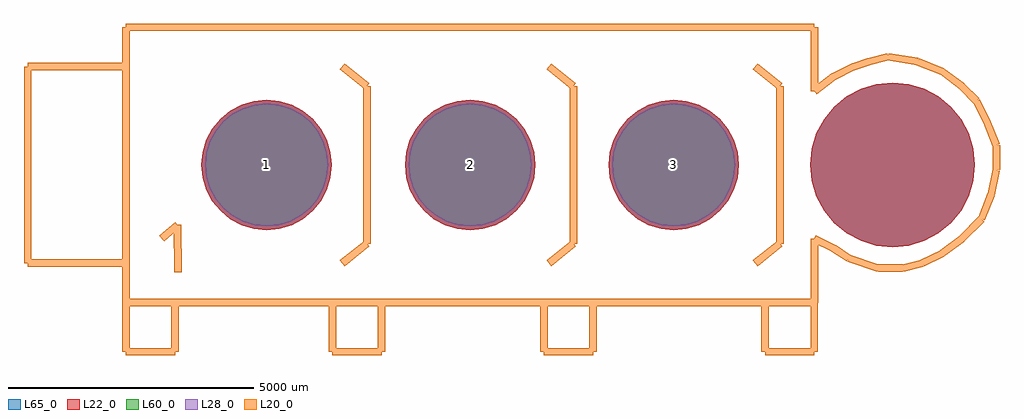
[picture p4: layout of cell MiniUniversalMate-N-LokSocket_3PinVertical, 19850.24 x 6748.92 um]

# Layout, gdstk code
import gdstk
lib = gdstk.Library(unit=1e-6, precision=1e-09)
def P(c, l, *ps):  # polygons
    for p in ps: c.add(gdstk.Polygon(p, *l))
L20_0 = (20, 0)
L22_0 = (22, 0)
L28_0 = (28, 0)
L60_0 = (60, 0)
L65_0 = (65, 0)

miniuniversalmate_n_loks = lib.new_cell('MiniUniversalMate-N-LokSocket_3PinVertical')
P(miniuniversalmate_n_loks, L22_0, [(5464.88,0),(5439.427,258.432),(5364.045,506.933),(5241.631,735.953),(5076.89,936.69),(4876.153,1101.431),(4647.133,1223.845),(4398.632,1299.227),(4140.2,1324.68),(3881.768,1299.227),(3633.267,1223.845),(3404.247,1101.431),(3203.51,936.69),(3038.769,735.953),(2916.355,506.933),(2840.973,258.432),(2815.52,0),(2840.973,-258.432),(2916.355,-506.933),(3038.769,-735.953),(3203.51,-936.69),(3404.247,-1101.431),(3633.267,-1223.845),(3881.768,-1299.227),(4140.2,-1324.68),(4398.632,-1299.227),(4647.133,-1223.845),(4876.153,-1101.431),(5076.89,-936.69),(5241.631,-735.953),(5364.045,-506.933),(5439.427,-258.432)],
  [(-2815.52,0),(-2840.973,258.432),(-2916.355,506.933),(-3038.769,735.953),(-3203.51,936.69),(-3404.247,1101.431),(-3633.267,1223.845),(-3881.768,1299.227),(-4140.2,1324.68),(-4398.632,1299.227),(-4647.133,1223.845),(-4876.153,1101.431),(-5076.89,936.69),(-5241.631,735.953),(-5364.045,506.933),(-5439.427,258.432),(-5464.88,0),(-5439.427,-258.432),(-5364.045,-506.933),(-5241.631,-735.953),(-5076.89,-936.69),(-4876.153,-1101.431),(-4647.133,-1223.845),(-4398.632,-1299.227),(-4140.2,-1324.68),(-3881.768,-1299.227),(-3633.267,-1223.845),(-3404.247,-1101.431),(-3203.51,-936.69),(-3038.769,-735.953),(-2916.355,-506.933),(-2840.973,-258.432)],
  [(10265.48,0),(10233.292,326.815),(10137.963,641.071),(9983.158,930.691),(9774.825,1184.545),(9520.971,1392.878),(9231.351,1547.683),(8917.095,1643.012),(8590.28,1675.2),(8263.465,1643.012),(7949.209,1547.683),(7659.589,1392.878),(7405.735,1184.545),(7197.402,930.691),(7042.597,641.071),(6947.268,326.815),(6915.08,0),(6947.268,-326.815),(7042.597,-641.071),(7197.402,-930.691),(7405.735,-1184.545),(7659.589,-1392.878),(7949.209,-1547.683),(8263.465,-1643.012),(8590.28,-1675.2),(8917.095,-1643.012),(9231.351,-1547.683),(9520.971,-1392.878),(9774.825,-1184.545),(9983.158,-930.691),(10137.963,-641.071),(10233.292,-326.815)],
  [(1324.68,0),(1299.227,258.432),(1223.845,506.933),(1101.431,735.953),(936.69,936.69),(735.953,1101.431),(506.933,1223.845),(258.432,1299.227),(0,1324.68),(-258.432,1299.227),(-506.933,1223.845),(-735.953,1101.431),(-936.69,936.69),(-1101.431,735.953),(-1223.845,506.933),(-1299.227,258.432),(-1324.68,0),(-1299.227,-258.432),(-1223.845,-506.933),(-1101.431,-735.953),(-936.69,-936.69),(-735.953,-1101.431),(-506.933,-1223.845),(-258.432,-1299.227),(0,-1324.68),(258.432,-1299.227),(506.933,-1223.845),(735.953,-1101.431),(936.69,-936.69),(1101.431,-735.953),(1223.845,-506.933),(1299.227,-258.432)])
P(miniuniversalmate_n_loks, L28_0, [(5389.88,0),(5365.868,243.8),(5294.754,478.232),(5179.271,694.285),(5023.857,883.657),(4834.485,1039.071),(4618.432,1154.554),(4384,1225.668),(4140.2,1249.68),(3896.4,1225.668),(3661.968,1154.554),(3445.915,1039.071),(3256.543,883.657),(3101.129,694.285),(2985.646,478.232),(2914.532,243.8),(2890.52,0),(2914.532,-243.8),(2985.646,-478.232),(3101.129,-694.285),(3256.543,-883.657),(3445.915,-1039.071),(3661.968,-1154.554),(3896.4,-1225.668),(4140.2,-1249.68),(4384,-1225.668),(4618.432,-1154.554),(4834.485,-1039.071),(5023.857,-883.657),(5179.271,-694.285),(5294.754,-478.232),(5365.868,-243.8)],
  [(-2890.52,0),(-2914.532,243.8),(-2985.646,478.232),(-3101.129,694.285),(-3256.543,883.657),(-3445.915,1039.071),(-3661.968,1154.554),(-3896.4,1225.668),(-4140.2,1249.68),(-4384,1225.668),(-4618.432,1154.554),(-4834.485,1039.071),(-5023.857,883.657),(-5179.271,694.285),(-5294.754,478.232),(-5365.868,243.8),(-5389.88,0),(-5365.868,-243.8),(-5294.754,-478.232),(-5179.271,-694.285),(-5023.857,-883.657),(-4834.485,-1039.071),(-4618.432,-1154.554),(-4384,-1225.668),(-4140.2,-1249.68),(-3896.4,-1225.668),(-3661.968,-1154.554),(-3445.915,-1039.071),(-3256.543,-883.657),(-3101.129,-694.285),(-2985.646,-478.232),(-2914.532,-243.8)],
  [(1249.68,0),(1225.668,243.8),(1154.554,478.232),(1039.071,694.285),(883.657,883.657),(694.285,1039.071),(478.232,1154.554),(243.8,1225.668),(0,1249.68),(-243.8,1225.668),(-478.232,1154.554),(-694.285,1039.071),(-883.657,883.657),(-1039.071,694.285),(-1154.554,478.232),(-1225.668,243.8),(-1249.68,0),(-1225.668,-243.8),(-1154.554,-478.232),(-1039.071,-694.285),(-883.657,-883.657),(-694.285,-1039.071),(-478.232,-1154.554),(-243.8,-1225.668),(0,-1249.68),(243.8,-1225.668),(478.232,-1154.554),(694.285,-1039.071),(883.657,-883.657),(1039.071,-694.285),(1154.554,-478.232),(1225.668,-243.8)])
P(miniuniversalmate_n_loks, L60_0, [(5389.88,0),(5365.868,243.8),(5294.754,478.232),(5179.271,694.285),(5023.857,883.657),(4834.485,1039.071),(4618.432,1154.554),(4384,1225.668),(4140.2,1249.68),(3896.4,1225.668),(3661.968,1154.554),(3445.915,1039.071),(3256.543,883.657),(3101.129,694.285),(2985.646,478.232),(2914.532,243.8),(2890.52,0),(2914.532,-243.8),(2985.646,-478.232),(3101.129,-694.285),(3256.543,-883.657),(3445.915,-1039.071),(3661.968,-1154.554),(3896.4,-1225.668),(4140.2,-1249.68),(4384,-1225.668),(4618.432,-1154.554),(4834.485,-1039.071),(5023.857,-883.657),(5179.271,-694.285),(5294.754,-478.232),(5365.868,-243.8)],
  [(-2890.52,0),(-2914.532,243.8),(-2985.646,478.232),(-3101.129,694.285),(-3256.543,883.657),(-3445.915,1039.071),(-3661.968,1154.554),(-3896.4,1225.668),(-4140.2,1249.68),(-4384,1225.668),(-4618.432,1154.554),(-4834.485,1039.071),(-5023.857,883.657),(-5179.271,694.285),(-5294.754,478.232),(-5365.868,243.8),(-5389.88,0),(-5365.868,-243.8),(-5294.754,-478.232),(-5179.271,-694.285),(-5023.857,-883.657),(-4834.485,-1039.071),(-4618.432,-1154.554),(-4384,-1225.668),(-4140.2,-1249.68),(-3896.4,-1225.668),(-3661.968,-1154.554),(-3445.915,-1039.071),(-3256.543,-883.657),(-3101.129,-694.285),(-2985.646,-478.232),(-2914.532,-243.8)],
  [(1249.68,0),(1225.668,243.8),(1154.554,478.232),(1039.071,694.285),(883.657,883.657),(694.285,1039.071),(478.232,1154.554),(243.8,1225.668),(0,1249.68),(-243.8,1225.668),(-478.232,1154.554),(-694.285,1039.071),(-883.657,883.657),(-1039.071,694.285),(-1154.554,478.232),(-1225.668,243.8),(-1249.68,0),(-1225.668,-243.8),(-1154.554,-478.232),(-1039.071,-694.285),(-883.657,-883.657),(-694.285,-1039.071),(-478.232,-1154.554),(-243.8,-1225.668),(0,-1249.68),(243.8,-1225.668),(478.232,-1154.554),(694.285,-1039.071),(883.657,-883.657),(1039.071,-694.285),(1154.554,-478.232),(1225.668,-243.8)])
P(miniuniversalmate_n_loks, L65_0, [(5464.88,0),(5439.427,258.432),(5364.045,506.933),(5241.631,735.953),(5076.89,936.69),(4876.153,1101.431),(4647.133,1223.845),(4398.632,1299.227),(4140.2,1324.68),(3881.768,1299.227),(3633.267,1223.845),(3404.247,1101.431),(3203.51,936.69),(3038.769,735.953),(2916.355,506.933),(2840.973,258.432),(2815.52,0),(2840.973,-258.432),(2916.355,-506.933),(3038.769,-735.953),(3203.51,-936.69),(3404.247,-1101.431),(3633.267,-1223.845),(3881.768,-1299.227),(4140.2,-1324.68),(4398.632,-1299.227),(4647.133,-1223.845),(4876.153,-1101.431),(5076.89,-936.69),(5241.631,-735.953),(5364.045,-506.933),(5439.427,-258.432)],
  [(-2815.52,0),(-2840.973,258.432),(-2916.355,506.933),(-3038.769,735.953),(-3203.51,936.69),(-3404.247,1101.431),(-3633.267,1223.845),(-3881.768,1299.227),(-4140.2,1324.68),(-4398.632,1299.227),(-4647.133,1223.845),(-4876.153,1101.431),(-5076.89,936.69),(-5241.631,735.953),(-5364.045,506.933),(-5439.427,258.432),(-5464.88,0),(-5439.427,-258.432),(-5364.045,-506.933),(-5241.631,-735.953),(-5076.89,-936.69),(-4876.153,-1101.431),(-4647.133,-1223.845),(-4398.632,-1299.227),(-4140.2,-1324.68),(-3881.768,-1299.227),(-3633.267,-1223.845),(-3404.247,-1101.431),(-3203.51,-936.69),(-3038.769,-735.953),(-2916.355,-506.933),(-2840.973,-258.432)],
  [(10265.48,0),(10233.292,326.815),(10137.963,641.071),(9983.158,930.691),(9774.825,1184.545),(9520.971,1392.878),(9231.351,1547.683),(8917.095,1643.012),(8590.28,1675.2),(8263.465,1643.012),(7949.209,1547.683),(7659.589,1392.878),(7405.735,1184.545),(7197.402,930.691),(7042.597,641.071),(6947.268,326.815),(6915.08,0),(6947.268,-326.815),(7042.597,-641.071),(7197.402,-930.691),(7405.735,-1184.545),(7659.589,-1392.878),(7949.209,-1547.683),(8263.465,-1643.012),(8590.28,-1675.2),(8917.095,-1643.012),(9231.351,-1547.683),(9520.971,-1392.878),(9774.825,-1184.545),(9983.158,-930.691),(10137.963,-641.071),(10233.292,-326.815)],
  [(1324.68,0),(1299.227,258.432),(1223.845,506.933),(1101.431,735.953),(936.69,936.69),(735.953,1101.431),(506.933,1223.845),(258.432,1299.227),(0,1324.68),(-258.432,1299.227),(-506.933,1223.845),(-735.953,1101.431),(-936.69,936.69),(-1101.431,735.953),(-1223.845,506.933),(-1299.227,258.432),(-1324.68,0),(-1299.227,-258.432),(-1223.845,-506.933),(-1101.431,-735.953),(-936.69,-936.69),(-735.953,-1101.431),(-506.933,-1223.845),(-258.432,-1299.227),(0,-1324.68),(258.432,-1299.227),(506.933,-1223.845),(735.953,-1101.431),(936.69,-936.69),(1101.431,-735.953),(1223.845,-506.933),(1299.227,-258.432)])
miniuniversalmate_n_loks.add(gdstk.FlexPath([(-7000.24,2799.08),(7000.24,2799.08)], 149.998, ends="flush", simple_path=True, layer=20, datatype=0))  # L20_0
miniuniversalmate_n_loks.add(gdstk.FlexPath([(-7000.24,-2799.08),(7000.24,-2799.08)], 149.998, ends="flush", simple_path=True, layer=20, datatype=0))  # L20_0
miniuniversalmate_n_loks.add(gdstk.FlexPath([(-7000.24,2799.08),(-7000.24,-2799.08)], 149.998, ends="flush", simple_path=True, layer=20, datatype=0))  # L20_0
miniuniversalmate_n_loks.add(gdstk.FlexPath([(7000.24,2799.08),(7000.24,1501.14)], 149.998, ends="flush", simple_path=True, layer=20, datatype=0))  # L20_0
miniuniversalmate_n_loks.add(gdstk.FlexPath([(7000.24,-2799.08),(7000.24,-1501.14)], 149.998, ends="flush", simple_path=True, layer=20, datatype=0))  # L20_0
miniuniversalmate_n_loks.add(gdstk.FlexPath([(7399.02,-1699.26),(7000.24,-1501.14)], 149.998, ends="flush", simple_path=True, layer=20, datatype=0))  # L20_0
miniuniversalmate_n_loks.add(gdstk.FlexPath([(7698.74,-1899.92),(7399.02,-1699.26)], 149.998, ends="flush", simple_path=True, layer=20, datatype=0))  # L20_0
miniuniversalmate_n_loks.add(gdstk.FlexPath([(8300.72,-2100.58),(7698.74,-1899.92)], 149.998, ends="flush", simple_path=True, layer=20, datatype=0))  # L20_0
miniuniversalmate_n_loks.add(gdstk.FlexPath([(8801.1,-2100.58),(8300.72,-2100.58)], 149.998, ends="flush", simple_path=True, layer=20, datatype=0))  # L20_0
miniuniversalmate_n_loks.add(gdstk.FlexPath([(9199.88,-1998.98),(8801.1,-2100.58)], 149.998, ends="flush", simple_path=True, layer=20, datatype=0))  # L20_0
miniuniversalmate_n_loks.add(gdstk.FlexPath([(9601.2,-1800.86),(9199.88,-1998.98)], 149.998, ends="flush", simple_path=True, layer=20, datatype=0))  # L20_0
miniuniversalmate_n_loks.add(gdstk.FlexPath([(9999.98,-1501.14),(9601.2,-1800.86)], 149.998, ends="flush", simple_path=True, layer=20, datatype=0))  # L20_0
miniuniversalmate_n_loks.add(gdstk.FlexPath([(10398.76,-1099.82),(9999.98,-1501.14)], 149.998, ends="flush", simple_path=True, layer=20, datatype=0))  # L20_0
miniuniversalmate_n_loks.add(gdstk.FlexPath([(10599.42,-599.44),(10398.76,-1099.82)], 149.998, ends="flush", simple_path=True, layer=20, datatype=0))  # L20_0
miniuniversalmate_n_loks.add(gdstk.FlexPath([(10701.02,-99.06),(10599.42,-599.44)], 149.998, ends="flush", simple_path=True, layer=20, datatype=0))  # L20_0
miniuniversalmate_n_loks.add(gdstk.FlexPath([(10701.02,398.78),(10701.02,-99.06)], 149.998, ends="flush", simple_path=True, layer=20, datatype=0))  # L20_0
miniuniversalmate_n_loks.add(gdstk.FlexPath([(10500.36,899.16),(10701.02,398.78)], 149.998, ends="flush", simple_path=True, layer=20, datatype=0))  # L20_0
miniuniversalmate_n_loks.add(gdstk.FlexPath([(10299.7,1300.48),(10500.36,899.16)], 149.998, ends="flush", simple_path=True, layer=20, datatype=0))  # L20_0
miniuniversalmate_n_loks.add(gdstk.FlexPath([(9999.98,1600.2),(10299.7,1300.48)], 149.998, ends="flush", simple_path=True, layer=20, datatype=0))  # L20_0
miniuniversalmate_n_loks.add(gdstk.FlexPath([(9601.2,1899.92),(9999.98,1600.2)], 149.998, ends="flush", simple_path=True, layer=20, datatype=0))  # L20_0
miniuniversalmate_n_loks.add(gdstk.FlexPath([(9100.82,2100.58),(9601.2,1899.92)], 149.998, ends="flush", simple_path=True, layer=20, datatype=0))  # L20_0
miniuniversalmate_n_loks.add(gdstk.FlexPath([(8498.84,2199.64),(9100.82,2100.58)], 149.998, ends="flush", simple_path=True, layer=20, datatype=0))  # L20_0
miniuniversalmate_n_loks.add(gdstk.FlexPath([(8100.06,2100.58),(8498.84,2199.64)], 149.998, ends="flush", simple_path=True, layer=20, datatype=0))  # L20_0
miniuniversalmate_n_loks.add(gdstk.FlexPath([(7800.34,1998.98),(8100.06,2100.58)], 149.998, ends="flush", simple_path=True, layer=20, datatype=0))  # L20_0
miniuniversalmate_n_loks.add(gdstk.FlexPath([(7399.02,1800.86),(7800.34,1998.98)], 149.998, ends="flush", simple_path=True, layer=20, datatype=0))  # L20_0
miniuniversalmate_n_loks.add(gdstk.FlexPath([(7000.24,1501.14),(7399.02,1800.86)], 149.998, ends="flush", simple_path=True, layer=20, datatype=0))  # L20_0
miniuniversalmate_n_loks.add(gdstk.FlexPath([(-8999.22,-1998.98),(-7000.24,-1998.98)], 149.998, ends="flush", simple_path=True, layer=20, datatype=0))  # L20_0
miniuniversalmate_n_loks.add(gdstk.FlexPath([(-8999.22,1998.98),(-8999.22,-1998.98)], 149.998, ends="flush", simple_path=True, layer=20, datatype=0))  # L20_0
miniuniversalmate_n_loks.add(gdstk.FlexPath([(-7000.24,1998.98),(-8999.22,1998.98)], 149.998, ends="flush", simple_path=True, layer=20, datatype=0))  # L20_0
miniuniversalmate_n_loks.add(gdstk.FlexPath([(-2100.58,1600.2),(-2100.58,-1600.2)], 149.998, ends="flush", simple_path=True, layer=20, datatype=0))  # L20_0
miniuniversalmate_n_loks.add(gdstk.FlexPath([(2100.58,1600.2),(2100.58,-1600.2)], 149.998, ends="flush", simple_path=True, layer=20, datatype=0))  # L20_0
miniuniversalmate_n_loks.add(gdstk.FlexPath([(-2100.58,1600.2),(-2600.96,1998.98)], 149.998, ends="flush", simple_path=True, layer=20, datatype=0))  # L20_0
miniuniversalmate_n_loks.add(gdstk.FlexPath([(-2100.58,-1600.2),(-2600.96,-1998.98)], 149.998, ends="flush", simple_path=True, layer=20, datatype=0))  # L20_0
miniuniversalmate_n_loks.add(gdstk.FlexPath([(2100.58,1600.2),(1600.2,1998.98)], 149.998, ends="flush", simple_path=True, layer=20, datatype=0))  # L20_0
miniuniversalmate_n_loks.add(gdstk.FlexPath([(2100.58,-1600.2),(1600.2,-1998.98)], 149.998, ends="flush", simple_path=True, layer=20, datatype=0))  # L20_0
miniuniversalmate_n_loks.add(gdstk.FlexPath([(6299.2,-1600.2),(5798.82,-1998.98)], 149.998, ends="flush", simple_path=True, layer=20, datatype=0))  # L20_0
miniuniversalmate_n_loks.add(gdstk.FlexPath([(6299.2,1600.2),(6299.2,-1600.2)], 149.998, ends="flush", simple_path=True, layer=20, datatype=0))  # L20_0
miniuniversalmate_n_loks.add(gdstk.FlexPath([(6299.2,1600.2),(5798.82,1998.98)], 149.998, ends="flush", simple_path=True, layer=20, datatype=0))  # L20_0
miniuniversalmate_n_loks.add(gdstk.FlexPath([(-7000.24,-3799.84),(-7000.24,-2801.62)], 149.998, ends="flush", simple_path=True, layer=20, datatype=0))  # L20_0
miniuniversalmate_n_loks.add(gdstk.FlexPath([(-5999.48,-3799.84),(-7000.24,-3799.84)], 149.998, ends="flush", simple_path=True, layer=20, datatype=0))  # L20_0
miniuniversalmate_n_loks.add(gdstk.FlexPath([(-5999.48,-2801.62),(-5999.48,-3799.84)], 149.998, ends="flush", simple_path=True, layer=20, datatype=0))  # L20_0
miniuniversalmate_n_loks.add(gdstk.FlexPath([(-7000.24,-2801.62),(-5999.48,-2801.62)], 149.998, ends="flush", simple_path=True, layer=20, datatype=0))  # L20_0
miniuniversalmate_n_loks.add(gdstk.FlexPath([(-2801.62,-2801.62),(-1800.86,-2801.62)], 149.998, ends="flush", simple_path=True, layer=20, datatype=0))  # L20_0
miniuniversalmate_n_loks.add(gdstk.FlexPath([(-1800.86,-2801.62),(-1800.86,-3799.84)], 149.998, ends="flush", simple_path=True, layer=20, datatype=0))  # L20_0
miniuniversalmate_n_loks.add(gdstk.FlexPath([(-1800.86,-3799.84),(-2801.62,-3799.84)], 149.998, ends="flush", simple_path=True, layer=20, datatype=0))  # L20_0
miniuniversalmate_n_loks.add(gdstk.FlexPath([(-2801.62,-3799.84),(-2801.62,-2801.62)], 149.998, ends="flush", simple_path=True, layer=20, datatype=0))  # L20_0
miniuniversalmate_n_loks.add(gdstk.FlexPath([(1498.6,-3799.84),(1498.6,-2801.62)], 149.998, ends="flush", simple_path=True, layer=20, datatype=0))  # L20_0
miniuniversalmate_n_loks.add(gdstk.FlexPath([(2499.36,-3799.84),(1498.6,-3799.84)], 149.998, ends="flush", simple_path=True, layer=20, datatype=0))  # L20_0
miniuniversalmate_n_loks.add(gdstk.FlexPath([(2499.36,-2801.62),(2499.36,-3799.84)], 149.998, ends="flush", simple_path=True, layer=20, datatype=0))  # L20_0
miniuniversalmate_n_loks.add(gdstk.FlexPath([(1498.6,-2801.62),(2499.36,-2801.62)], 149.998, ends="flush", simple_path=True, layer=20, datatype=0))  # L20_0
miniuniversalmate_n_loks.add(gdstk.FlexPath([(5996.94,-2801.62),(6997.7,-2801.62)], 149.998, ends="flush", simple_path=True, layer=20, datatype=0))  # L20_0
miniuniversalmate_n_loks.add(gdstk.FlexPath([(6997.7,-2801.62),(6997.7,-3799.84)], 149.998, ends="flush", simple_path=True, layer=20, datatype=0))  # L20_0
miniuniversalmate_n_loks.add(gdstk.FlexPath([(6997.7,-3799.84),(5996.94,-3799.84)], 149.998, ends="flush", simple_path=True, layer=20, datatype=0))  # L20_0
miniuniversalmate_n_loks.add(gdstk.FlexPath([(5996.94,-3799.84),(5996.94,-2801.62)], 149.998, ends="flush", simple_path=True, layer=20, datatype=0))  # L20_0
miniuniversalmate_n_loks.add(gdstk.FlexPath([(-5951.22,-1219.2),(-5941.06,-2179.32)], 149.998, ends="flush", simple_path=True, layer=20, datatype=0))  # L20_0
miniuniversalmate_n_loks.add(gdstk.FlexPath([(-6271.26,-1501.14),(-5951.22,-1219.2)], 149.998, ends="flush", simple_path=True, layer=20, datatype=0))  # L20_0
miniuniversalmate_n_loks.add(gdstk.Label('3', (4140.2,0), layer=28, texttype=0))
miniuniversalmate_n_loks.add(gdstk.Label('1', (-4140.2,0), layer=28, texttype=0))
miniuniversalmate_n_loks.add(gdstk.Label('2', (0,0), layer=28, texttype=0))
miniuniversalmate_n_loks.add(gdstk.Label('type', (-701.04,-5621.02), layer=9, texttype=0))
miniuniversalmate_n_loks.add(gdstk.Label('devicename', (71.12,5430.52), layer=9, texttype=0))

lib.write_gds('MiniUniversalMate-N-LokSocket_3PinVertical.gds')
